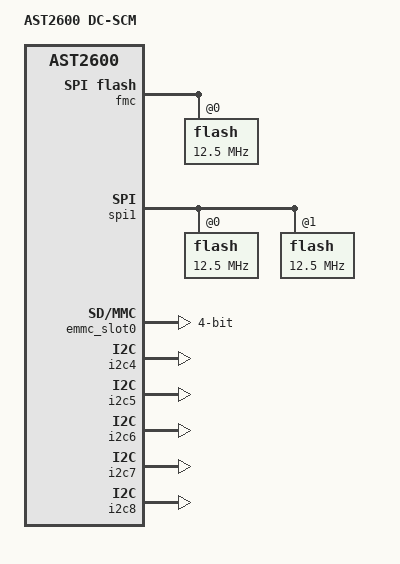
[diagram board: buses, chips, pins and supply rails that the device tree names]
// SPDX-License-Identifier: GPL-2.0-or-later
/dts-v1/;

#include "ast2600-evb.dts"

/ {
	model = "AST2600 DC-SCM";
};

&fmc {
	status = "okay";

	pinctrl-names = "default";
	pinctrl-0 = <&pinctrl_fmcquad_default>;
	timing-calibration-disabled;
	num-cs = <1>;

	flash@0 {
		status = "okay";
		spi-max-frequency = <12500000>;
		spi-tx-bus-width = <4>;
		spi-rx-bus-width = <4>;
	};

	flash@1 {
		status = "disabled";
	};

	flash@2 {
		status = "disabled";
	};
};

&spi1 {
	status = "okay";

	pinctrl-names = "default";
	pinctrl-0 = <&pinctrl_spi1_default &pinctrl_spi1abr_default
			&pinctrl_spi1cs1_default &pinctrl_spi1wp_default
			&pinctrl_spi1wp_default &pinctrl_spi1quad_default>;
	timing-calibration-disabled;

	flash@0 {
		status = "okay";
		spi-max-frequency = <12500000>;
		spi-tx-bus-width = <4>;
		spi-rx-bus-width = <4>;
	};

	flash@1 {
		status = "okay";
		spi-max-frequency = <12500000>;
		spi-tx-bus-width = <4>;
		spi-rx-bus-width = <4>;
	};
};

&spi2 {
	status = "disabled";
};

&emmc {
	u-boot,dm-pre-reloc;
	timing-phase = <0x000f0097>;
};

&emmc_slot0 {
	u-boot,dm-pre-reloc;
	status = "okay";
	bus-width = <4>;
	pinctrl-names = "default";
	pinctrl-0 = <&pinctrl_emmc_default>;
	sdhci-drive-type = <1>;
};

&sdhci {
	status = "disabled";
};

&sdhci_slot0 {
	status = "disabled";
};

&sdhci_slot1 {
	status = "disabled";
};

&i2c4 {
	status = "okay";

	pinctrl-names = "default";
	pinctrl-0 = <&pinctrl_i2c5_default>;
};

&i2c5 {
	status = "okay";

	pinctrl-names = "default";
	pinctrl-0 = <&pinctrl_i2c6_default>;
};

&i2c6 {
	status = "okay";

	pinctrl-names = "default";
	pinctrl-0 = <&pinctrl_i2c7_default>;
};

&i2c7 {
	status = "okay";

	pinctrl-names = "default";
	pinctrl-0 = <&pinctrl_i2c8_default>;
};

&i2c8 {
	status = "okay";

	pinctrl-names = "default";
	pinctrl-0 = <&pinctrl_i2c9_default>;
};

&pcie_phy1 {
	status = "disabled";
};

&pcie_bridge {
	status = "disabled";
};

&ehci1 {
	status = "disabled";
};

&mac0 {
	status = "disabled";
};

&mac2 {
	status = "disabled";
};

&mac3 {
	status = "disabled";
};

